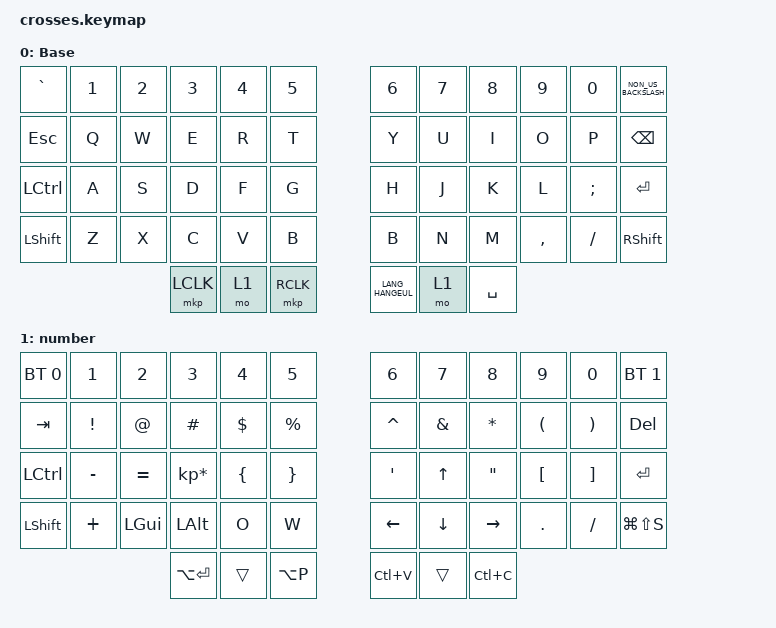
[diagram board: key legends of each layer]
#include <behaviors.dtsi>
#include <dt-bindings/zmk/bt.h>
#include <dt-bindings/zmk/keys.h>
#include <dt-bindings/zmk/pointing.h>

/ {
    chosen { zmk,physical-layout = &gggw_crosses_54_layout; };

    macros {
        Front: Front {
            compatible = "zmk,behavior-macro";
            #binding-cells = <0>;
            bindings = <&kp LEFT_BRACE &kp LEFT_BRACE>;
            label = "FRONT";
        };

        Back: Back {
            compatible = "zmk,behavior-macro";
            #binding-cells = <0>;
            bindings = <&kp RIGHT_BRACE &kp RIGHT_BRACE>;
            label = "BACK";
        };
    };

    behaviors {
        holdtap: holdtap {
            compatible = "zmk,behavior-hold-tap";
            label = "HOLDTAP";
            bindings = <&kp>, <&kp>;

            #binding-cells = <2>;
            tapping-term-ms = <200>;
            flavor = "tap-preferred";
        };
    };

    combos {
        compatible = "zmk,combos";

        dot {
            bindings = <&kp DOT>;
            key-positions = <45 46>;
        };
    };

    keymap {
        compatible = "zmk,keymap";

        default_layer {
            display-name = "Base";
            bindings = <
&kp GRAVE         &kp NUMBER_1  &kp NUMBER_2  &kp NUMBER_3  &kp NUMBER_4  &kp N5     &kp NUMBER_6      &kp N7  &kp N8     &kp N9     &kp N0         &kp NON_US_BACKSLASH
&kp ESC           &kp Q         &kp W         &kp E         &kp R         &kp T      &kp Y             &kp U   &kp I      &kp O      &kp P          &kp BACKSPACE
&kp LEFT_CONTROL  &kp A         &kp S         &kp D         &kp F         &kp G      &kp H             &kp J   &kp K      &kp L      &kp SEMICOLON  &kp RET
&kp LEFT_SHIFT    &kp Z         &kp X         &kp C         &kp V         &kp B      &kp B             &kp N   &kp M      &kp COMMA  &kp SLASH      &kp RIGHT_SHIFT
                                              &mkp LCLK     &mo 1         &mkp RCLK  &kp LANG_HANGEUL  &mo 1   &kp SPACE
            >;
        };

        number {
            display-name = "number";
            bindings = <
&bt BT_SEL 0      &kp N1           &kp N2        &kp N3           &kp N4          &kp N5           &kp N6            &kp N7         &kp N8             &kp N9                &kp N0                 &bt BT_SEL 1
&kp TAB           &kp EXCLAMATION  &kp AT_SIGN   &kp HASH         &kp DOLLAR      &kp PERCENT      &kp CARET         &kp AMPERSAND  &kp ASTERISK       &kp LEFT_PARENTHESIS  &kp RIGHT_PARENTHESIS  &kp DEL
&kp LEFT_CONTROL  &kp MINUS        &kp EQUAL     &kp KP_MULTIPLY  &kp LEFT_BRACE  &kp RIGHT_BRACE  &kp SINGLE_QUOTE  &kp UP         &kp DOUBLE_QUOTES  &kp LEFT_BRACKET      &kp RIGHT_BRACKET      &kp RET
&kp LEFT_SHIFT    &kp PLUS         &kp LEFT_GUI  &kp LEFT_ALT     &kp O           &kp W            &kp LEFT          &kp DOWN       &kp RIGHT          &kp DOT               &kp SLASH              &kp LG(LS(S))
                                                 &kp LA(RET)      &trans          &kp LA(P)        &kp LC(V)         &trans         &kp LC(C)
            >;
        };
    };
};
